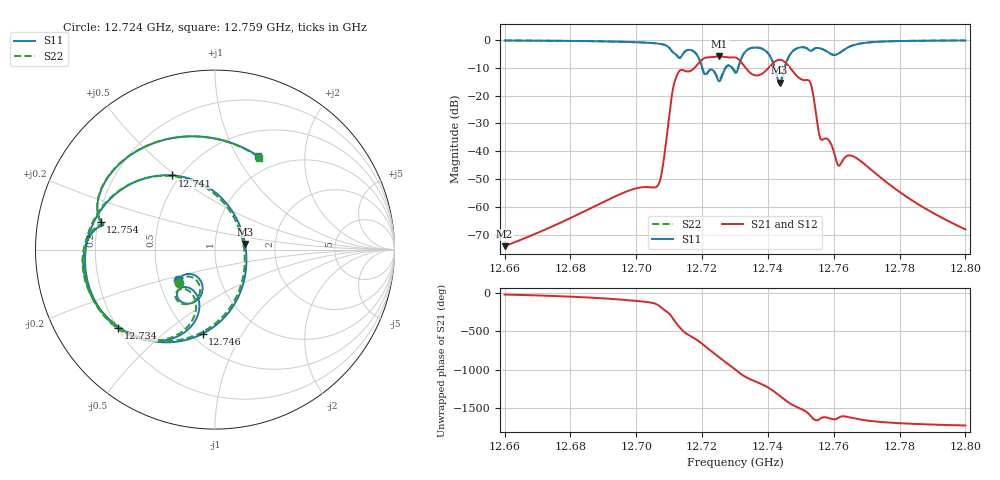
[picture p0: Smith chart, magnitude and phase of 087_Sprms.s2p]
! TOUCHSTONE file generated by CST MICROWAVE STUDIO
! Date and time: Wed Jul 31 15:07:23 2024
! Project name: WaveGuide_BPF-Ver4.1_U-shape_Ku_T3_C4_CWA_2.cst
! Parameters = {cavity_h=16; cavity_l0=10; cavity_l1=15.2177; cavity_l2=16.8072; cavity_l3=17.0895; cavity_l4=17.2585; cavity_l5=17.1401; cavity_l6=17.5796; cavity_r=2.5; cavity_screw_l=0.5; cavity_screw_r=1.5; cavity_w=8; iris_h00=0; iris_h01=8.8234; iris_h112=0; iris_h12=5.586; iris_h211=3.6548; i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
! Header version: 2018
! Port assignment regex: !\s*Touchstone port\s*([0-9]+)\s*=\s*(CST MWS port|CST DS port)\s*([0-9]+|Zmin|Zmax)\s*\(\"(.*)\"\)(\s*mode\s*([0-9]+))?.*
! Touchstone port assignment:
! Touchstone port 1 = CST MWS port 1 ("")
! Touchstone port 2 = CST MWS port 2 ("")
# GHz S RI R 50
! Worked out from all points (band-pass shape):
!   5001 points, 12.66 GHz to 12.8 GHz, reference 50 ohm
!   highest |S21| = -5.89 dB at 12.725 GHz (marker M1); lowest = -74.1 dB at 12.66 GHz (marker M2)
!   |S21| within 3 dB of the highest: 12.71856 GHz to 12.7325 GHz (13.93 MHz wide, 0.109 % of centre); 12.74106 GHz to 12.74595 GHz (4.897 MHz wide, 0.0384 % of centre)
!   lowest |S11| = -15.4 dB at 12.744 GHz (marker M3), VSWR 1.41, Z = 69.9 + j4.49 ohm
!   |S11| at or under -10 dB: 12.72003 GHz to 12.7272 GHz (7.165 MHz wide, 0.0563 % of centre); 12.72907 GHz to 12.73102 GHz (1.949 MHz wide, 0.0153 % of centre); 12.74203 GHz to 12.74503 GHz (3 MHz wide, 0.0235 % of centre)
!   |S22| runs from -15.9 to -0.2 dB; largest |S21 - S12| = 1e-09
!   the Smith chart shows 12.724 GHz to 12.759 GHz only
!   S11 on the Smith chart (normalised r, x): 12.724 GHz: 0.63, -0.23; 12.734 GHz: 0.20, -0.34; 12.741 GHz: 0.45, +0.49; 12.746 GHz: 0.57, -0.69; 12.754 GHz: 0.21, +0.12; 12.759 GHz: 0.79, +1.23
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12.66  0.3745 0.9053  0.000176 -8.75e-05  0.000176 -8.75e-05  0.3841 0.9011
12.68335  0.7847 0.5499  0.000388 -0.00068  0.000388 -0.00068  0.7948 0.5344
12.70668  0.5244 -0.684  -0.00238 -0.000656  -0.00238 -0.000656  0.4984 -0.7031
12.71236  0.00144 -0.5228  0.1565 -0.172  0.1565 -0.172  -0.0186 -0.5249
12.7155  -0.0632 -0.6536  -0.2715 -0.000216  -0.2715 -0.000216  -0.0903 -0.6517
12.71953  -0.3403 -0.1932  0.1315 0.3969  0.1315 0.3969  -0.3431 -0.1768
12.7237  -0.2036 -0.1711  0.1703 -0.4664  0.1703 -0.4664  -0.2027 -0.1834
12.72527  -0.1003 -0.1507  -0.2715 -0.4288  -0.2715 -0.4288  -0.1105 -0.1647
12.72742  -0.1359 -0.2994  -0.4772 0.1076  -0.4772 0.1076  -0.1488 -0.3033
12.73  -0.1522 -0.2104  0.0434 0.4842  0.0434 0.4842  -0.1631 -0.2214
12.73434  -0.5378 -0.4384  0.2067 -0.1672  0.2067 -0.1672  -0.5515 -0.4322
12.74089  -0.2374 0.4134  -0.3488 -0.038  -0.3488 -0.038  -0.2614 0.4109
12.74352  0.1674 0.0312  -0.0897 0.4313  -0.0897 0.4313  0.1548 0.0452
12.74613  -0.0695 -0.4691  0.3322 0.1083  0.3322 0.1083  -0.0805 -0.4645
12.75335  -0.6287 0.1447  -0.1388 -0.0033  -0.1388 -0.0033  -0.6313 0.1529
12.75352  -0.6367 0.1557  -0.1235 0.0136  -0.1235 0.0136  -0.6389 0.164
12.75587  -0.4856 0.5157  -0.0166 0.00502  -0.0166 0.00502  -0.4828 0.5201
12.75887  0.2423 0.5199  -0.0143 0.00316  -0.0143 0.00316  0.2472 0.513
12.76136  0.5445 -0.1586  -0.00555 0.000553  -0.00555 0.000553  0.5352 -0.1774
12.76475  0.00598 -0.7561  -0.0084 -0.00021  -0.0084 -0.00021  -0.0216 -0.7579
12.77668  -0.8984 -0.2958  -0.00107 0.00236  -0.00107 0.00236  -0.9045 -0.2799
12.8  -0.9382 0.2861  9.1e-05 0.000382  9.1e-05 0.000382  -0.9358 0.2946
